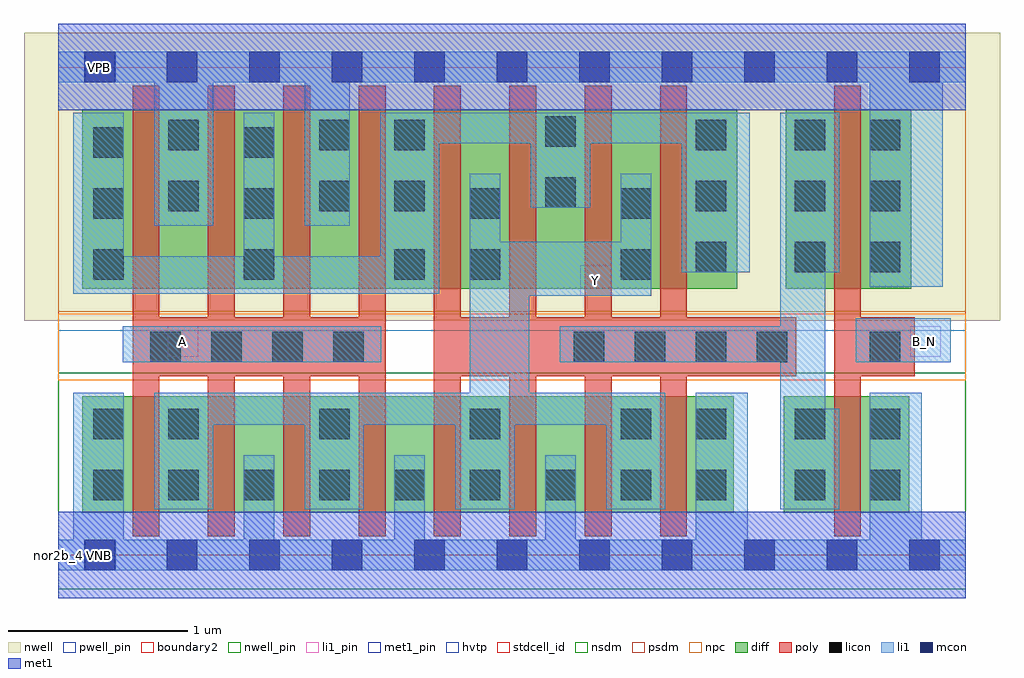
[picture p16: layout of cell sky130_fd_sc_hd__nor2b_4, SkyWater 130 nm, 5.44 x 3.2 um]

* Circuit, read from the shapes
.subckt sky130_fd_sc_hd__nor2b_4 A B_N VGND VNB VPB VPWR Y
XM1 Y A VGND VNB sky130_fd_pr__nfet_01v8 w=0.65 l=0.15 m=4
XM2 Y n1 VGND VNB sky130_fd_pr__nfet_01v8 w=0.65 l=0.15 m=4
XM3 VGND B_N n1 VNB sky130_fd_pr__nfet_01v8 w=0.65 l=0.15
XM4 VPWR A n2 VPB sky130_fd_pr__pfet_01v8_hvt w=1 l=0.15 m=4
XM5 Y n1 n2 VPB sky130_fd_pr__pfet_01v8_hvt w=1 l=0.15 m=4
XM6 VPWR B_N n1 VPB sky130_fd_pr__pfet_01v8_hvt w=1 l=0.15
.ends

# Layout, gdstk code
import gdstk
lib = gdstk.Library(unit=1e-6, precision=1e-09)
def R(c, l, rs):  # rectangles x0, y0, x1, y1
    for r in rs: c.add(gdstk.rectangle(r[:2], r[2:], *l))
def A(c, l, x, y, w, h, nx, ny, dx, dy):  # array of equal rectangles
    R(c, l, [(x+i*dx, y+j*dy, x+i*dx+w, y+j*dy+h) for i in range(nx) for j in range(ny)])
def P(c, l, *ps):  # polygons
    for p in ps: c.add(gdstk.Polygon(p, *l))
nwell_pin = (64, 16)
nwell = (64, 20)
diff = (65, 20)
poly = (66, 20)
licon = (66, 44)
li1_pin = (67, 16)
li1 = (67, 20)
mcon = (67, 44)
met1_pin = (68, 16)
met1 = (68, 20)
hvtp = (78, 44)
stdcell_id = (81, 4)
nsdm = (93, 44)
psdm = (94, 20)
npc = (95, 20)
pwell_pin = (122, 16)
boundary2 = (236, 0)

sky130_fd_sc_hd__nor2b_4 = lib.new_cell('sky130_fd_sc_hd__nor2b_4')
R(sky130_fd_sc_hd__nor2b_4, nwell_pin, [(0.15,2.635,0.32,2.805)])
R(sky130_fd_sc_hd__nor2b_4, nwell, [(-0.19,1.305,5.25,2.91)])
R(sky130_fd_sc_hd__nor2b_4, diff, [(0.135,0.235,3.765,0.885), (4.045,0.235,4.745,0.885), (0.135,1.485,3.785,2.485), (4.055,1.485,4.755,2.485)])
P(sky130_fd_sc_hd__nor2b_4, poly, [(4.775,1.325),(4.475,1.325),(4.475,2.615),(4.325,2.615),(4.325,0.105),(4.475,0.105),(4.475,0.995),(4.775,0.995)],
  [(1.825,2.615),(1.675,2.615),(1.675,1.325),(1.405,1.325),(1.405,2.615),(1.255,2.615),(1.255,1.325),(0.985,1.325),(0.985,2.615),(0.835,2.615),(0.835,1.325),(0.565,1.325),(0.565,2.615),(0.415,2.615),(0.415,0.105),(0.565,0.105),(0.565,0.995),(0.835,0.995),(0.835,0.105),(0.985,0.105),(0.985,0.995),(1.255,0.995),(1.255,0.105),(1.405,0.105),(1.405,0.995),(1.675,0.995),(1.675,0.105),(1.825,0.105)],
  [(4.115,1.325),(3.505,1.325),(3.505,2.615),(3.355,2.615),(3.355,1.325),(3.085,1.325),(3.085,2.615),(2.935,2.615),(2.935,1.325),(2.665,1.325),(2.665,2.615),(2.515,2.615),(2.515,1.325),(2.245,1.325),(2.245,2.615),(2.095,2.615),(2.095,0.105),(2.245,0.105),(2.245,0.995),(2.515,0.995),(2.515,0.105),(2.665,0.105),(2.665,0.995),(2.935,0.995),(2.935,0.105),(3.085,0.105),(3.085,0.995),(3.355,0.995),(3.355,0.105),(3.505,0.105),(3.505,0.995),(4.115,0.995)])
A(sky130_fd_sc_hd__nor2b_4, licon, 0.195, 0.305, 0.17, 0.17, 9, 1, 0.42, 0)
A(sky130_fd_sc_hd__nor2b_4, licon, 0.615, 0.645, 0.17, 0.17, 4, 1, 0.84, 0)
A(sky130_fd_sc_hd__nor2b_4, licon, 0.515, 1.075, 0.17, 0.17, 4, 1, 0.34, 0)
A(sky130_fd_sc_hd__nor2b_4, licon, 2.875, 1.075, 0.17, 0.17, 4, 1, 0.34, 0)
A(sky130_fd_sc_hd__nor2b_4, licon, 0.195, 1.535, 0.17, 0.17, 3, 1, 0.84, 0)
A(sky130_fd_sc_hd__nor2b_4, licon, 3.555, 1.575, 0.17, 0.17, 1, 3, 0, 0.34)
A(sky130_fd_sc_hd__nor2b_4, licon, 4.105, 1.575, 0.17, 0.17, 1, 3, 0, 0.34)
A(sky130_fd_sc_hd__nor2b_4, licon, 4.525, 1.575, 0.17, 0.17, 1, 3, 0, 0.34)
R(sky130_fd_sc_hd__nor2b_4, licon, [(4.105,0.305,4.275,0.475), (4.525,0.305,4.695,0.475), (0.195,0.645,0.365,0.815), (3.555,0.645,3.725,0.815), (4.105,0.645,4.275,0.815), (4.525,0.645,4.695,0.815), (4.525,1.075,4.695,1.245), (2.295,1.535,2.465,1.705), (3.135,1.535,3.305,1.705), (0.195,1.875,0.365,2.045), (1.035,1.875,1.205,2.045), (2.295,1.875,2.465,2.045), (3.135,1.875,3.305,2.045), (0.615,1.915,0.785,2.085), (1.455,1.915,1.625,2.085), (1.875,1.915,2.045,2.085), (2.715,1.935,2.885,2.105), (0.195,2.215,0.365,2.385), (1.035,2.215,1.205,2.385), (0.615,2.255,0.785,2.425), (1.455,2.255,1.625,2.425), (1.875,2.255,2.045,2.425), (2.715,2.275,2.885,2.445)])
R(sky130_fd_sc_hd__nor2b_4, li1_pin, [(0.61,1.105,0.78,1.275), (4.75,1.105,4.92,1.275), (2.91,1.445,3.08,1.615)])
R(sky130_fd_sc_hd__nor2b_4, li1, [(0.36,1.075,1.8,1.275), (4.445,1.075,4.975,1.32)])
P(sky130_fd_sc_hd__nor2b_4, li1, [(3.385,0.905),(2.625,0.905),(2.625,1.445),(3.305,1.445),(3.305,2.125),(3.135,2.125),(3.135,1.745),(2.465,1.745),(2.465,2.125),(2.295,2.125),(2.295,0.905),(0.535,0.905),(0.535,0.255),(0.865,0.255),(0.865,0.725),(1.375,0.725),(1.375,0.255),(1.705,0.255),(1.705,0.725),(2.215,0.725),(2.215,0.255),(2.545,0.255),(2.545,0.725),(3.055,0.725),(3.055,0.255),(3.385,0.255)],
  [(3.855,2.465),(1.795,2.465),(1.795,1.665),(1.205,1.665),(1.205,2.465),(1.035,2.465),(1.035,1.665),(0.365,1.665),(0.365,2.465),(0.085,2.465),(0.085,1.455),(2.125,1.455),(2.125,2.295),(2.635,2.295),(2.635,1.935),(2.965,1.935),(2.965,2.295),(3.475,2.295),(3.475,1.575),(3.855,1.575)],
  [(4.355,0.815),(4.275,0.815),(4.275,1.575),(4.355,1.575),(4.355,2.465),(4.025,2.465),(4.025,1.275),(2.795,1.275),(2.795,1.075),(4.025,1.075),(4.025,0.255),(4.355,0.255)],
  [(5.06,0.085),(4.815,0.085),(4.815,0.905),(4.525,0.905),(4.525,0.085),(3.845,0.085),(3.845,0.905),(3.555,0.905),(3.555,0.085),(2.885,0.085),(2.885,0.555),(2.715,0.555),(2.715,0.085),(2.045,0.085),(2.045,0.555),(1.875,0.555),(1.875,0.085),(1.205,0.085),(1.205,0.555),(1.035,0.555),(1.035,0.085),(0.365,0.085),(0.365,0.905),(0.085,0.905),(0.085,0.085),(0,0.085),(0,-0.085),(5.06,-0.085)],
  [(5.06,2.805),(0,2.805),(0,2.635),(0.535,2.635),(0.535,1.835),(0.865,1.835),(0.865,2.635),(1.375,2.635),(1.375,1.835),(1.625,1.835),(1.625,2.635),(4.525,2.635),(4.525,1.495),(4.93,1.495),(4.93,2.635),(5.06,2.635)])
A(sky130_fd_sc_hd__nor2b_4, mcon, 0.145, -0.085, 0.17, 0.17, 11, 2, 0.46, 2.72)
R(sky130_fd_sc_hd__nor2b_4, met1_pin, [(0.15,-0.085,0.32,0.085), (0.15,2.635,0.32,2.805)])
R(sky130_fd_sc_hd__nor2b_4, hvtp, [(0,1.25,5.06,2.72)])
R(sky130_fd_sc_hd__nor2b_4, stdcell_id, [(0,0,5.06,2.72)])
R(sky130_fd_sc_hd__nor2b_4, nsdm, [(0,-0.19,5.06,1.015)])
R(sky130_fd_sc_hd__nor2b_4, psdm, [(0,1.355,5.06,2.91)])
R(sky130_fd_sc_hd__nor2b_4, npc, [(0,0.975,5.06,1.345)])
R(sky130_fd_sc_hd__nor2b_4, pwell_pin, [(0.15,-0.085,0.32,0.085)])
R(sky130_fd_sc_hd__nor2b_4, boundary2, [(0,0,5.06,2.72)])
sky130_fd_sc_hd__nor2b_4.add(gdstk.FlexPath([(0,2.72),(5.06,2.72)], 0.48, ends="flush", simple_path=True, layer=68, datatype=20))  # met1
sky130_fd_sc_hd__nor2b_4.add(gdstk.FlexPath([(0,0),(5.06,0)], 0.48, ends="flush", simple_path=True, layer=68, datatype=20))  # met1
sky130_fd_sc_hd__nor2b_4.add(gdstk.Label('B_N', (4.83,1.19), layer=67, texttype=5))
sky130_fd_sc_hd__nor2b_4.add(gdstk.Label('Y', (2.995,1.53), layer=67, texttype=5))
sky130_fd_sc_hd__nor2b_4.add(gdstk.Label('A', (0.695,1.19), layer=67, texttype=5))
sky130_fd_sc_hd__nor2b_4.add(gdstk.Label('VNB', (0.23,0), layer=64, texttype=59))
sky130_fd_sc_hd__nor2b_4.add(gdstk.Label('VPB', (0.23,2.72), layer=64, texttype=5))
sky130_fd_sc_hd__nor2b_4.add(gdstk.Label('VGND', (0.23,0), layer=68, texttype=5))
sky130_fd_sc_hd__nor2b_4.add(gdstk.Label('VPWR', (0.23,2.72), layer=68, texttype=5))
sky130_fd_sc_hd__nor2b_4.add(gdstk.Label('nor2b_4', (0,0), layer=83, texttype=44))

lib.write_gds('sky130_fd_sc_hd__nor2b_4.gds')
